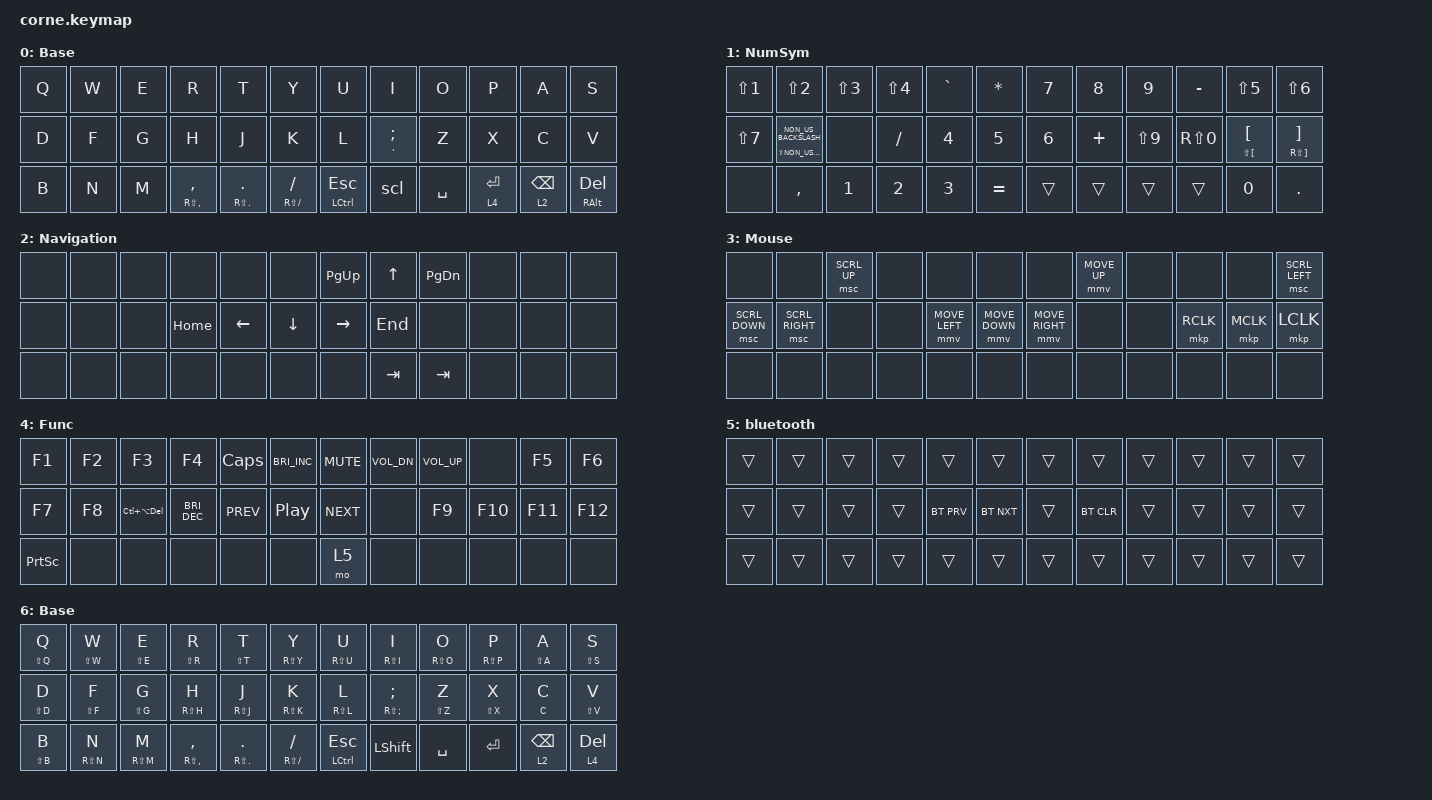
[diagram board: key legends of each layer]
/*
 * Copyright (c) 2020 The ZMK Contributors
 *
 * SPDX-License-Identifier: MIT
 */

#include <behaviors.dtsi>
#include <dt-bindings/zmk/keys.h>
#include <dt-bindings/zmk/bt.h>
#include <dt-bindings/zmk/outputs.h>
#include <dt-bindings/zmk/ext_power.h>
#include <dt-bindings/zmk/reset.h>
#include <dt-bindings/zmk/pointing.h>

&lt {
    flavor = "hold-preferred";
    tapping-term-ms = <200>;
    quick-tap-ms = <200>;
    hold-while-undecided;
    hold-trigger-on-release;
};

&mt {
    tapping-term-ms = <200>;
    quick-tap-ms = <200>;
    hold-while-undecided;
    flavor = "hold-preferred";
};

&caps_word { continue-list = <UNDERSCORE BACKSPACE DELETE>; };

/ {
    chosen {
        zmk,physical-layout = &foostan_corne_5col_layout;
    };

    combos {
        compatible = "zmk,combos";

        Caps {
            bindings = <&kp CAPS>;
            key-positions = <20 29>;
        };

        Capsword {
            bindings = <&caps_word>;
            key-positions = <31 34>;
        };

        shift_l {
            bindings = <&kp LEFT_SHIFT>;
            key-positions = <20 21>;
        };

        shift_r {
            bindings = <&kp RIGHT_SHIFT>;
            key-positions = <28 29>;
        };
    };

    behaviors {
        as: auto_shift {
            compatible = "zmk,behavior-hold-tap";
            #binding-cells = <2>;
            tapping_term_ms = <250>;
            quick_tap_ms = <0>;
            flavor = "tap-preferred";
            bindings = <&kp>, <&kp>;
        };

        mt_tap: mt_tap {
            compatible = "zmk,behavior-hold-tap";
            label = "MT_TAP";
            bindings = <&kp>, <&kp>;

            #binding-cells = <2>;
            tapping-term-ms = <200>;
            flavor = "tap-preferred";
            quick-tap-ms = <199>;
        };

        mt_hold_while_undecided: mt_hold_while_undecided {
            compatible = "zmk,behavior-hold-tap";
            label = "MT_HOLD_WHILE_UNDECIDED";
            bindings = <&kp>, <&kp>;

            #binding-cells = <2>;
            tapping-term-ms = <200>;
            hold-while-undecided;
            hold-trigger-on-release;
        };

        lt_bal: lt_bal {
            compatible = "zmk,behavior-hold-tap";
            label = "LT_BAL";
            bindings = <&mo>, <&kp>;

            #binding-cells = <2>;
            tapping-term-ms = <200>;
            flavor = "balanced";
            quick-tap-ms = <200>;
        };

        oneshot: oneshot {
            compatible = "zmk,behavior-sticky-key";
            label = "os";
            bindings = <&kp>;
            #binding-cells = <1>;
            release-after-ms = <1000>;
            quick-release;
            ignore-modifiers;
        };

        layer_oneshot: lo {
            compatible = "zmk,behavior-hold-tap";
            label = "lo";
            bindings = <&mo>, <&oneshot>;

            #binding-cells = <2>;
            tapping-term-ms = <200>;
            flavor = "balanced";
            quick-tap-ms = <200>;
            hold-while-undecided;
        };

        scl: shift_caps_layer {
            compatible = "zmk,behavior-tap-dance";
            label = "SHIFT_CAPS_LAYER";
            #binding-cells = <0>;
            bindings = <&layer_oneshot 1 LEFT_SHIFT>, <&caps_word>;
        };
    };

    keymap {
        compatible = "zmk,keymap";

        default_layer {
            display-name = "Base";
            bindings = <
&kp Q  &kp W  &kp E  &kp R                &kp T               &kp Y                  &kp U          &kp I              &kp O      &kp P            &kp A                &kp S
&kp D  &kp F  &kp G  &kp H                &kp J               &kp K                  &kp L          &as SQT SEMICOLON  &kp Z      &kp X            &kp C                &kp V
&kp B  &kp N  &kp M  &as RS(COMMA) COMMA  &as RS(DOT) PERIOD  &as RS(SLASH) SLASH    &mt LCTRL ESC  &scl               &kp SPACE  &lt_bal 4 ENTER  &lt_bal 2 BACKSPACE  &mt_tap RIGHT_ALT DEL
            >;
        };

        NumSym {
            display-name = "NumSym";
            bindings = <
&kp LS(N1)  &kp LS(N2)                                 &kp LS(N3)    &kp LS(N4)    &kp GRAVE     &kp ASTERISK    &kp N7        &kp N8    &kp N9      &kp MINUS   &kp LS(N5)                         &kp LS(NUMBER_6)
&kp LS(N7)  &as LS(NON_US_BACKSLASH) NON_US_BACKSLASH  &none         &kp SLASH     &kp NUMBER_4  &kp N5          &kp NUMBER_6  &kp PLUS  &kp LS(N9)  &kp RS(N0)  &as LS(LEFT_BRACKET) LEFT_BRACKET  &as RS(RIGHT_BRACKET) RIGHT_BRACKET
&none       &kp COMMA                                  &kp NUMBER_1  &kp NUMBER_2  &kp NUMBER_3  &kp EQUAL       &trans        &trans    &trans      &trans      &kp N0                             &kp PERIOD
            >;
        };

        Navigation {
            display-name = "Navigation";
            bindings = <
&none  &none  &none  &none     &none           &none             &kp PAGE_UP  &kp UP_ARROW  &kp PAGE_DOWN  &none  &none  &none
&none  &none  &none  &kp HOME  &kp LEFT_ARROW  &kp DOWN_ARROW    &kp RIGHT    &kp END       &none          &none  &none  &none
&none  &none  &none  &none     &none           &none             &none        &kp TAB       &kp TAB        &none  &none  &none
            >;

            label = "Nav";
        };

        Mouse {
            bindings = <
&none           &none            &msc SCRL_UP  &none  &none           &none             &none            &mmv MOVE_UP  &none  &none      &none      &msc SCRL_LEFT
&msc SCRL_DOWN  &msc SCRL_RIGHT  &none         &none  &mmv MOVE_LEFT  &mmv MOVE_DOWN    &mmv MOVE_RIGHT  &none         &none  &mkp RCLK  &mkp MCLK  &mkp LCLK
&none           &none            &none         &none  &none           &none             &none            &none         &none  &none      &none      &none
            >;

            label = "Mouse";
        };

        Function {
            bindings = <
&kp F1           &kp F2  &kp F3              &kp F4                &kp CAPS    &kp C_BRIGHTNESS_INC    &kp C_MUTE  &kp C_VOL_DN  &kp C_VOL_UP  &none    &kp F5   &kp F6
&kp F7           &kp F8  &kp LC(LA(DELETE))  &kp C_BRIGHTNESS_DEC  &kp C_PREV  &kp C_PLAY_PAUSE        &kp C_NEXT  &none         &kp F9        &kp F10  &kp F11  &kp F12
&kp PRINTSCREEN  &none   &none               &none                 &none       &none                   &mo 5       &none         &none         &none    &none    &none
            >;

            label = "Func";
        };

        Bluetooth {
            bindings = <
&trans  &trans  &trans  &trans  &trans      &trans        &trans  &trans      &trans  &trans  &trans  &trans
&trans  &trans  &trans  &trans  &bt BT_PRV  &bt BT_NXT    &trans  &bt BT_CLR  &trans  &trans  &trans  &trans
&trans  &trans  &trans  &trans  &trans      &trans        &trans  &trans      &trans  &trans  &trans  &trans
            >;

            label = "bluetooth";
        };

        AutoShift {
            display-name = "Base";
            bindings = <
&as LS(Q) Q  &as LS(W) W  &as LS(E) E  &as LS(R) R          &as LS(T) T            &as RS(Y) Y            &as RS(U) U    &as RS(I) I                  &as RS(O) O  &as RS(P) P  &as LS(A) A          &as LS(S) S
&as LS(D) D  &as LS(F) F  &as LS(G) G  &as RS(H) H          &as RS(J) J            &as RS(K) K            &as RS(L) L    &as RS(SEMICOLON) SEMICOLON  &as LS(Z) Z  &as LS(X) X  &as C C              &as LS(V) V
&as LS(B) B  &as RS(N) N  &as RS(M) M  &as RS(COMMA) COMMA  &as RS(PERIOD) PERIOD  &as RS(SLASH) SLASH    &mt LCTRL ESC  &kp LEFT_SHIFT               &kp SPACE    &kp RETURN   &lt_bal 2 BACKSPACE  &lt_bal 4 DEL
            >;

            label = "autoshift";
        };
    };
};
